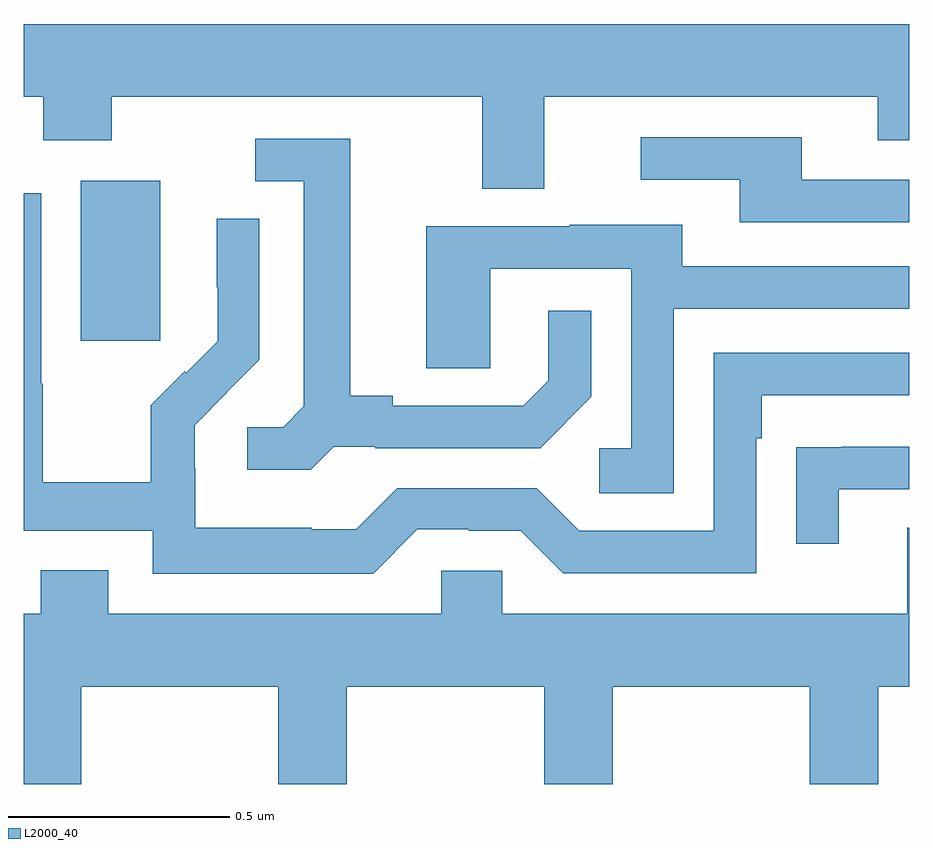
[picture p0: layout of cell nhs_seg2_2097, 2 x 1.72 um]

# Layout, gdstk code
import gdstk
lib = gdstk.Library(unit=1e-6, precision=1e-09)
def R(c, l, rs):  # rectangles x0, y0, x1, y1
    for r in rs: c.add(gdstk.rectangle(r[:2], r[2:], *l))
def P(c, l, *ps):  # polygons
    for p in ps: c.add(gdstk.Polygon(p, *l))
L2000_40 = (2000, 40)

nhs_seg2_2097 = lib.new_cell('nhs_seg2_2097')
R(nhs_seg2_2097, L2000_40, [(137.129,597.801,137.308,598.162)])
P(nhs_seg2_2097, L2000_40, [(138.175,598.352),(138.929,598.352),(138.929,598.253),(139,598.253),(139,598.516),(137,598.516),(137,598.352),(137.044,598.352),(137.044,598.253),(137.199,598.253),(137.199,598.352),(138.035,598.352),(138.035,598.144),(138.175,598.144)],
  [(139,598.164),(138.757,598.164),(138.757,598.26),(138.393,598.26),(138.393,598.164),(138.617,598.164),(138.617,598.068),(139,598.068)],
  [(137.7,597.561),(137.794,597.561),(137.794,597.558),(138.166,597.558),(138.282,597.674),(138.282,597.868),(138.185,597.868),(138.185,597.711),(138.128,597.654),(137.833,597.654),(137.833,597.677),(137.737,597.677),(137.737,598.257),(137.523,598.257),(137.523,598.161),(137.633,598.161),(137.633,597.653),(137.586,597.606),(137.505,597.606),(137.505,597.509),(137.648,597.509)],
  [(137.889,597.375),(138.005,597.375),(138.005,597.372),(138.123,597.372),(138.219,597.276),(138.654,597.276),(138.654,597.581),(138.667,597.581),(138.667,597.678),(139,597.678),(139,597.774),(138.558,597.774),(138.558,597.372),(138.255,597.372),(138.159,597.468),(137.844,597.468),(137.751,597.375),(137.651,597.375),(137.651,597.379),(137.388,597.379),(137.388,597.513),(137.386,597.513),(137.386,597.61),(137.46,597.684),(137.459,597.685),(137.532,597.758),(137.532,598.076),(137.436,598.076),(137.436,597.922),(137.438,597.922),(137.438,597.8),(137.367,597.729),(137.364,597.732),(137.287,597.655),(137.287,597.481),(137.043,597.481),(137.043,597.704),(137.04,597.704),(137.04,598.134),(137,598.134),(137,597.372),(137.292,597.372),(137.292,597.275),(137.789,597.275)],
  [(138.468,597.873),(139,597.873),(139,597.969),(138.487,597.969),(138.487,598.063),(138.233,598.063),(138.233,598.059),(137.909,598.059),(137.909,597.739),(138.054,597.739),(138.054,597.963),(138.372,597.963),(138.372,597.558),(138.3,597.558),(138.3,597.457),(138.468,597.457)],
  [(138.841,597.465),(139,597.465),(139,597.561),(138.847,597.561),(138.847,597.56),(138.745,597.56),(138.745,597.342),(138.841,597.342)],
  [(137.13,597.02),(137.575,597.02),(137.575,596.8),(137.73,596.8),(137.73,597.02),(138.175,597.02),(138.175,596.8),(138.33,596.8),(138.33,597.02),(138.775,597.02),(138.775,596.8),(138.93,596.8),(138.93,597.02),(139,597.02),(139,597.379),(138.995,597.379),(138.995,597.184),(138.081,597.184),(138.081,597.282),(137.943,597.282),(137.943,597.184),(137.191,597.184),(137.191,597.283),(137.039,597.283),(137.039,597.184),(137,597.184),(137,596.8),(137.13,596.8)])

lib.write_gds('nhs_seg2_2097.gds')
